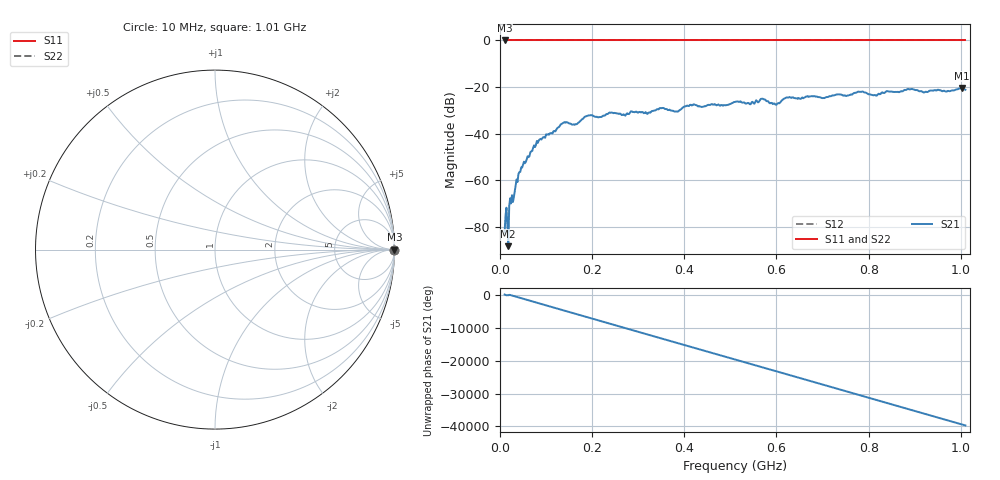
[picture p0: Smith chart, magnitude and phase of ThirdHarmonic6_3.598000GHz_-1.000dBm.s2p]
! 8/17/2025 11:59:26 AM
! C:\ANRITSUVNA\TEMP\TEMP.S2P
! CHANNEL.1
! TR.MEASUREMENT
! RAW.DATA
! RF.CORRECTION.OFF
! AVERAGING.OFF
! IF.BANDWIDTH: 5KHZ
! SWEEPTYPE:  FREQ.SWEEP(Linear)
! Reference Plane Port Info
! PORT:  PORT1  PORT2
! DISTANCE:  0  m  0  m
! TIME:  0  s  0  s
! PHASE.OFFSET:  0  deg.  0  deg.
! LOSS:  0  dB  0  dB
! REF.LOSS:  0  dB  0  dB
! REF.FREQ:  0  Hz  0  Hz
! Power Info
! POWER:  -20  dBm  -20  dBm
! EFF.POWER:  -20  dBm  -20  dBm
! SOURCE.ATTEN:  0  dB  0  dB
! TEST.ATTEN:  0  dB  0  dB
# GHZ S RI R 50.0
! FREQ.GHZ  S11RE  S11IM  S21RE  S21IM  S12RE  S12IM  S22RE  S22IM
!; PortSelection: Port_12
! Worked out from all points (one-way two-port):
!   501 points, 10 MHz to 1.01 GHz, reference 50 ohm
!   highest |S21| = -20.39 dB at 1.002 GHz (marker M1); lowest = -88.3 dB at 18 MHz (marker M2)
!   lowest |S11| = 0.0 dB at 10 MHz (marker M3)
!   |S11| at or under -10 dB: nowhere
!   |S22| runs from 0.0 to 0.0 dB; largest |S21 - S12| = 1.1
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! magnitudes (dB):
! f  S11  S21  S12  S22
! 10 MHz  0.0  -82.4  0.0  0.0
! 14 MHz  0.0  -71.8  0.0  0.0
! 18 MHz  0.0  -88.3  0.0  0.0
! 44 MHz  0.0  -56.4  0.0  0.0
! 76 MHz  0.0  -45.8  0.0  0.0
! 136 MHz  0.0  -35.6  0.0  0.0
! 162 MHz  0.0  -36.2  0.0  0.0
! 178 MHz  0.0  -33.8  0.0  0.0
! 194 MHz  0.0  -32.1  0.0  0.0
! 322 MHz  0.0  -31.0  0.0  0.0
! 344 MHz  0.0  -29.6  0.0  0.0
! 382 MHz  0.0  -30.5  0.0  0.0
! 416 MHz  0.0  -27.9  0.0  0.0
! 510 MHz  0.0  -26.4  0.0  0.0
! 540 MHz  0.0  -26.9  0.0  0.0
! 570 MHz  0.0  -25.0  0.0  0.0
! 596 MHz  0.0  -27.1  0.0  0.0
! 624 MHz  0.0  -24.5  0.0  0.0
! 678 MHz  0.0  -24.0  0.0  0.0
! 844 MHz  0.0  -21.9  0.0  0.0
! 1.002 GHz  0.0  -20.4  0.0  0.0
! 1.01 GHz  0.0  -21.2  0.0  0.0
